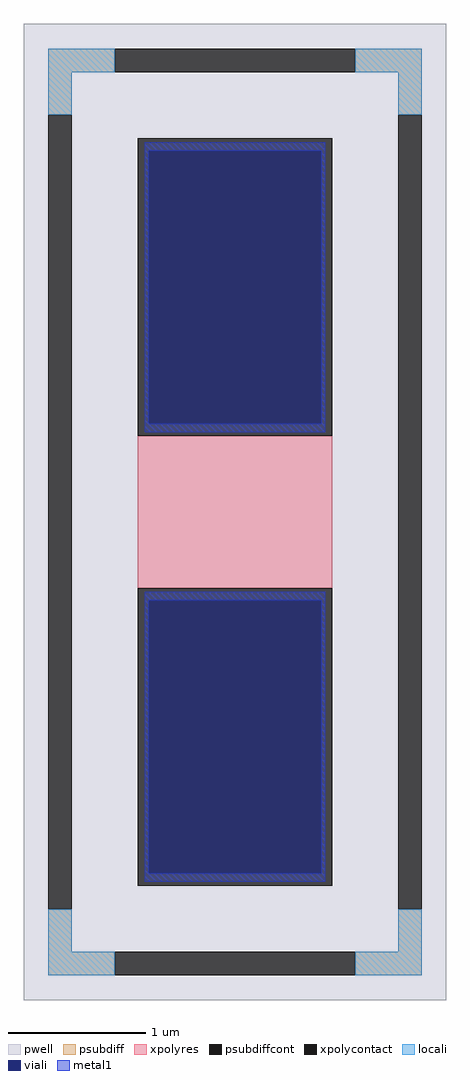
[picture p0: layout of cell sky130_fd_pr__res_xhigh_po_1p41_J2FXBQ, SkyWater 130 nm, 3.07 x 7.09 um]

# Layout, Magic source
magic
tech sky130A
magscale 1 2
<< pwell >>
rect -307 -709 307 709
<< psubdiff >>
rect -271 639 -175 673
rect 175 639 271 673
rect -271 577 -237 639
rect 237 577 271 639
rect -271 -639 -237 -577
rect 237 -639 271 -577
rect -271 -673 -175 -639
rect 175 -673 271 -639
<< psubdiffcont >>
rect -175 639 175 673
rect -271 -577 -237 577
rect 237 -577 271 577
rect -175 -673 175 -639
<< xpolycontact >>
rect -141 111 141 543
rect -141 -543 141 -111
<< xpolyres >>
rect -141 -111 141 111
<< locali >>
rect -271 639 -175 673
rect 175 639 271 673
rect -271 577 -237 639
rect 237 577 271 639
rect -271 -639 -237 -577
rect 237 -639 271 -577
rect -271 -673 -175 -639
rect 175 -673 271 -639
<< viali >>
rect -125 128 125 525
rect -125 -525 125 -128
<< metal1 >>
rect -131 525 131 537
rect -131 128 -125 525
rect 125 128 131 525
rect -131 116 131 128
rect -131 -128 131 -116
rect -131 -525 -125 -128
rect 125 -525 131 -128
rect -131 -537 131 -525
<< properties >>
string FIXED_BBOX -254 -656 254 656
string gencell sky130_fd_pr__res_xhigh_po_1p41
string library sky130
string parameters w 1.410 l 1.271 m 1 nx 1 wmin 1.410 lmin 0.50 rho 2000 val 2.069k dummy 0 dw 0.0 term 188.2 sterm 0.0 caplen 0 wmax 1.410 guard 1 glc 1 grc 1 gtc 1 gbc 1 compatible {sky130_fd_pr__res_xhigh_po_0p35  sky130_fd_pr__res_xhigh_po_0p69 sky130_fd_pr__res_xhigh_po_1p41  sky130_fd_pr__res_xhigh_po_2p85 sky130_fd_pr__res_xhigh_po_5p73} snake 0 full_metal 1 n_guard 0 hv_guard 0 vias 1 viagb 0 viagt 0 viagl 0 viagr 0
<< end >>
